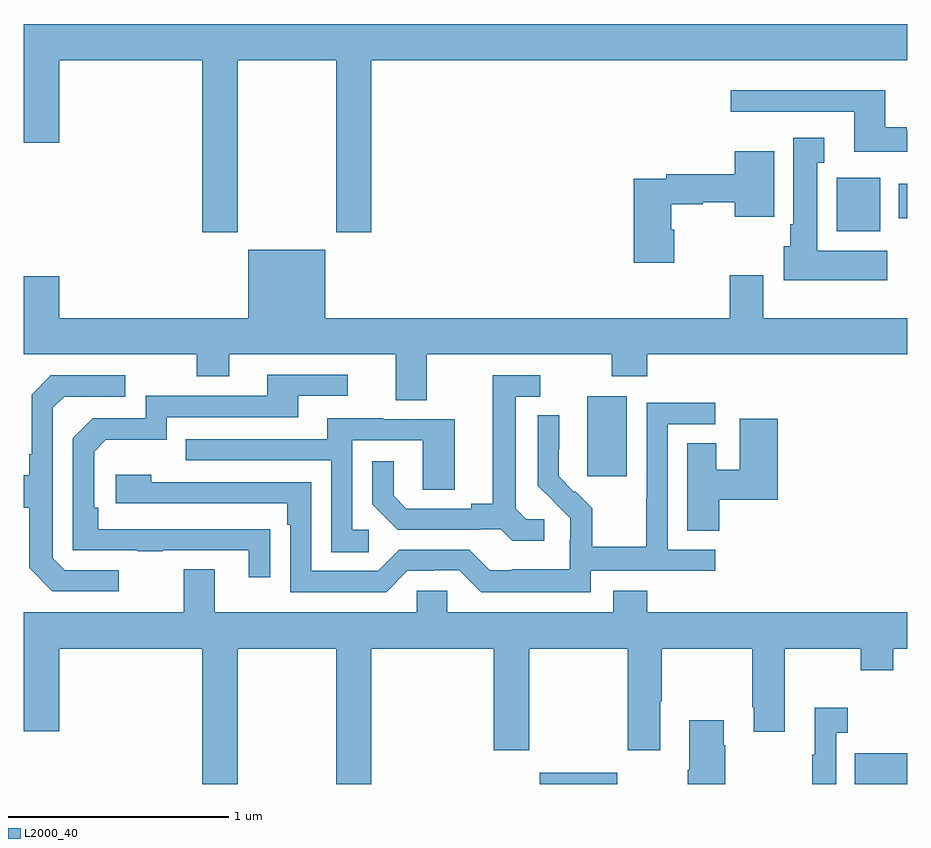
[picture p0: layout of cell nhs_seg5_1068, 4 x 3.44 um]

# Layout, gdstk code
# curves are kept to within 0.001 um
import gdstk
lib = gdstk.Library(unit=1e-6, precision=1e-09)
def R(c, l, rs):  # rectangles x0, y0, x1, y1
    for r in rs: c.add(gdstk.rectangle(r[:2], r[2:], *l))
def P(c, l, *ps):  # polygons
    for p in ps: c.add(gdstk.Polygon(p, *l))
L2000_40 = (2000, 40)

nhs_seg5_1068 = lib.new_cell('nhs_seg5_1068')
R(nhs_seg5_1068, L2000_40, [(179.336,870.799,179.686,870.85), (180.763,870.799,181,870.939), (179.552,872.193,179.731,872.554), (180.68,873.302,180.877,873.544), (180.962,873.361,181,873.517)])
P(nhs_seg5_1068, L2000_40, [(177.969,874.076),(178.414,874.076),(178.414,873.297),(178.574,873.297),(178.574,874.076),(181,874.076),(181,874.24),(177,874.24),(177,873.702),(177.16,873.702),(177.16,874.076),(177.809,874.076),(177.809,873.297),(177.969,873.297)],
  [(181,873.759),(180.997,873.759),(180.997,873.772),(180.901,873.772),(180.901,873.94),(180.201,873.94),(180.201,873.843),(180.761,873.843),(180.761,873.662),(181,873.662)],
  [(180.91,873.214),(180.592,873.214),(180.592,873.611),(180.625,873.611),(180.625,873.724),(180.485,873.724),(180.485,873.334),(180.47,873.334),(180.47,873.234),(180.44,873.234),(180.44,873.08),(180.91,873.08)],
  [(179.945,873.309),(179.932,873.309),(179.932,873.424),(180.075,873.424),(180.075,873.432),(180.218,873.432),(180.218,873.368),(180.397,873.368),(180.397,873.664),(180.218,873.664),(180.218,873.56),(179.908,873.56),(179.908,873.54),(179.762,873.54),(179.762,873.159),(179.945,873.159)],
  [(180.197,873.103),(180.197,872.908),(178.366,872.908),(178.366,873.217),(178.016,873.217),(178.016,872.908),(177.16,872.908),(177.16,873.097),(177,873.097),(177,872.744),(177.784,872.744),(177.784,872.645),(177.931,872.645),(177.931,872.744),(178.685,872.744),(178.685,872.536),(178.825,872.536),(178.825,872.744),(179.662,872.744),(179.662,872.645),(179.822,872.645),(179.822,872.744),(181,872.744),(181,872.908),(180.349,872.908),(180.349,873.103)],
  [(178.115,871.952),(177.338,871.953),(177.338,872.05),(177.318,872.05),(177.318,872.304),(177.371,872.357),(177.648,872.357),(177.648,872.46),(178.243,872.46),(178.243,872.556),(178.468,872.556),(178.468,872.652),(178.103,872.652),(178.103,872.556),(177.552,872.556),(177.552,872.454),(177.312,872.454),(177.222,872.364),(177.222,871.857),(177.517,871.857),(177.517,871.852),(177.629,871.852),(177.629,871.857),(178.019,871.857),(178.019,871.734),(178.115,871.734)],
  [(179.356,871.998),(179.274,871.998),(179.227,872.045),(179.227,872.553),(179.338,872.553),(179.338,872.649),(179.123,872.649),(179.123,872.069),(179.027,872.069),(179.027,872.046),(178.732,872.046),(178.675,872.103),(178.675,872.26),(178.578,872.26),(178.578,872.066),(178.694,871.95),(179.066,871.95),(179.066,871.953),(179.16,871.953),(179.212,871.901),(179.356,871.901)],
  [(177.43,871.767),(177.186,871.767),(177.132,871.821),(177.132,872.502),(177.183,872.553),(177.46,872.553),(177.46,872.649),(177.123,872.649),(177.036,872.562),(177.036,872.293),(177.024,872.293),(177.024,872.197),(177,872.197),(177,872.05),(177.024,872.05),(177.024,871.777),(177.129,871.671),(177.43,871.671)],
  [(179.568,871.764),(180.13,871.764),(180.13,871.86),(179.916,871.86),(179.916,872.427),(180.13,872.427),(180.13,872.526),(179.82,872.526),(179.82,872.096),(179.818,872.096),(179.818,871.873),(179.573,871.873),(179.573,872.047),(179.496,872.124),(179.493,872.121),(179.423,872.192),(179.424,872.468),(179.328,872.468),(179.328,872.15),(179.474,872.002),(179.474,871.905),(179.472,871.905),(179.472,871.771),(179.209,871.771),(179.209,871.767),(179.109,871.767),(179.016,871.86),(178.701,871.86),(178.605,871.764),(178.302,871.764),(178.302,872.166),(177.578,872.166),(177.578,872.2),(177.417,872.2),(177.417,872.07),(178.193,872.07),(178.193,871.973),(178.206,871.973),(178.206,871.668),(178.641,871.668),(178.737,871.764),(178.856,871.764),(178.856,871.767),(178.971,871.767),(179.071,871.667),(179.568,871.667)],
  [(178.561,871.95),(178.488,871.95),(178.488,872.355),(178.806,872.355),(178.806,872.131),(178.951,872.131),(178.951,872.451),(178.627,872.451),(178.627,872.455),(178.373,872.455),(178.373,872.361),(177.733,872.361),(177.733,872.265),(178.392,872.265),(178.392,871.849),(178.561,871.849)],
  [(180.149,872.087),(180.413,872.087),(180.413,872.452),(180.242,872.452),(180.242,872.221),(180.136,872.221),(180.136,872.342),(180.005,872.342),(180.005,871.945),(180.149,871.945)],
  [(179.822,871.675),(179.669,871.675),(179.669,871.576),(178.917,871.576),(178.917,871.674),(178.779,871.674),(178.779,871.576),(177.865,871.576),(177.865,871.771),(177.725,871.771),(177.725,871.576),(177,871.576),(177,871.038),(177.16,871.038),(177.16,871.412),(177.809,871.412),(177.809,870.799),(177.969,870.799),(177.969,871.412),(178.414,871.412),(178.414,870.799),(178.574,870.799),(178.574,871.412),(179.129,871.412),(179.129,870.951),(179.289,870.951),(179.289,871.412),(179.734,871.412),(179.734,870.951),(179.881,870.951),(179.881,871.174),(179.889,871.174),(179.889,871.412),(180.298,871.412),(180.298,871.147),(180.305,871.147),(180.305,871.035),(180.445,871.035),(180.445,871.412),(180.79,871.412),(180.79,871.313),(180.937,871.313),(180.937,871.412),(181,871.412),(181,871.576),(179.822,871.576)],
  [(180.678,871.031),(180.73,871.031),(180.73,871.144),(180.581,871.144),(180.581,870.931),(180.57,870.931),(180.57,870.799),(180.678,870.799)],
  [(180.177,870.974),(180.169,870.974),(180.169,871.087),(180.014,871.087),(180.014,870.863),(180.007,870.863),(180.007,870.799),(180.177,870.799)])

lib.write_gds('nhs_seg5_1068.gds')
